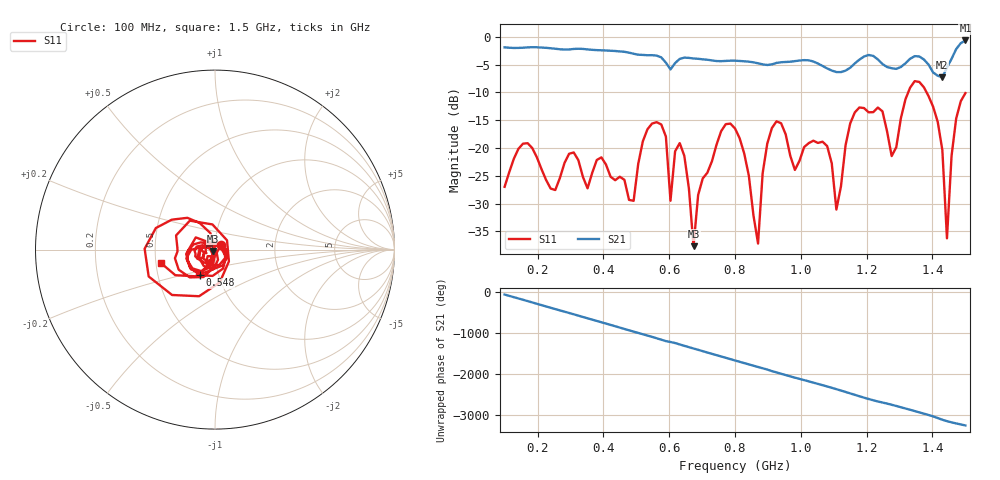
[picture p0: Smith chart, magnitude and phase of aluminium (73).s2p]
! NanoVNA-App
! Date: 2025-09-26 09:58:37
! Start: 100MHz Stop: 1,5GHz Points: 101
! S-Parameter data: F S11 S21 S12 S22
# Hz S RI R 50
!  Frequency  S11_Real  S11_Imag  S21_Real  S21_Imag  S12_Real  S12_Imag  S22_Real  S22_Imag
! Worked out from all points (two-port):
!   101 points, 100 MHz to 1.5 GHz, reference 50 ohm
!   highest |S21| = -0.68 dB at 1.5 GHz (marker M1); lowest = -7.3 dB at 1.43 GHz (marker M2)
!   |S21| within 3 dB of the highest: start of sweep to 573.9 MHz; 1.189 GHz to 1.225 GHz (35.64 MHz wide, 2.95 % of centre) (the widest 2 of 4)
!   lowest |S11| = -37.7 dB at 674 MHz (marker M3), VSWR 1.03, Z = 49 - j0.78 ohm
!   |S11| at or under -10 dB: start of sweep to 1.326 GHz; 1.382 GHz to end of sweep
!   S12 and S22 are empty: the file has one direction only
!   S11 on the Smith chart (normalised r, x): 100 MHz: 1.07, +0.06; 548 MHz: 0.81, -0.24; 1.5 GHz: 0.53, -0.09
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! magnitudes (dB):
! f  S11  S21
! 100 MHz  -27.0  -1.9
! 156 MHz  -19.2  -2.0
! 338 MHz  -25.2  -2.2
! 492 MHz  -29.5  -3.1
! 548 MHz  -15.6  -3.3
! 576 MHz  -15.8  -3.7
! 604 MHz  -29.5  -5.9
! 646 MHz  -21.4  -3.8
! 674 MHz  -37.7  -3.9
! 702 MHz  -25.5  -4.1
! 800 MHz  -16.5  -4.3
! 870 MHz  -37.2  -4.8
! 912 MHz  -16.4  -5.0
! 1.038 GHz  -18.7  -4.5
! 1.108 GHz  -31.1  -6.4
! 1.178 GHz  -12.7  -4.1
! 1.276 GHz  -21.5  -5.7
! 1.346 GHz  -8.0  -3.5
! 1.43 GHz  -20.4  -7.3
! 1.444 GHz  -36.2  -5.5
! 1.472 GHz  -14.7  -2.2
! 1.5 GHz  -10.1  -0.7
